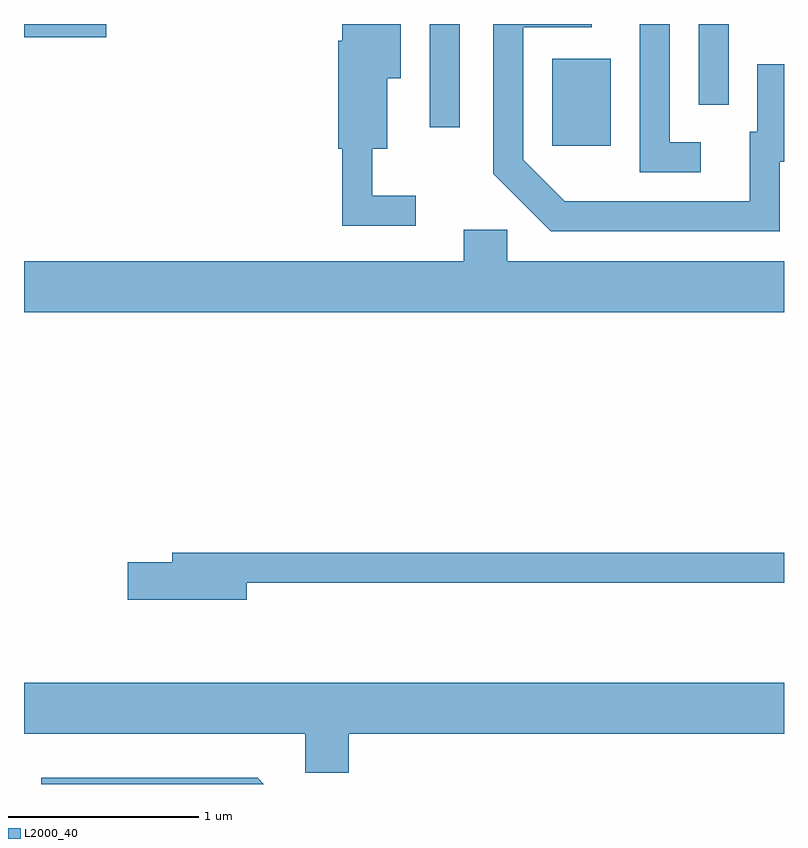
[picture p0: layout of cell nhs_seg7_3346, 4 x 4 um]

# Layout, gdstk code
import gdstk
lib = gdstk.Library(unit=1e-6, precision=1e-09)
def R(c, l, rs):  # rectangles x0, y0, x1, y1
    for r in rs: c.add(gdstk.rectangle(r[:2], r[2:], *l))
def P(c, l, *ps):  # polygons
    for p in ps: c.add(gdstk.Polygon(p, *l))
L2000_40 = (2000, 40)

nhs_seg7_3346 = lib.new_cell('nhs_seg7_3346')
R(nhs_seg7_3346, L2000_40, [(290.391,1739.611,290.699,1740.069), (289.746,1739.708,289.904,1740.252), (291.161,1739.828,291.319,1740.252), (287.611,1740.181,288.044,1740.252)])
P(nhs_seg7_3346, L2000_40, [(289.673,1739.349),(289.444,1739.349),(289.444,1739.596),(289.524,1739.596),(289.524,1739.966),(289.594,1739.966),(289.594,1740.252),(289.286,1740.252),(289.286,1740.164),(289.266,1740.164),(289.266,1739.596),(289.286,1739.596),(289.286,1739.191),(289.673,1739.191)],
  [(291.173,1739.629),(291.009,1739.629),(291.009,1740.252),(290.851,1740.252),(290.851,1739.471),(291.173,1739.471)],
  [(291.589,1739.526),(291.611,1739.526),(291.611,1740.039),(291.471,1740.039),(291.471,1739.684),(291.431,1739.684),(291.431,1739.319),(290.457,1739.319),(290.239,1739.537),(290.239,1740.236),(290.598,1740.236),(290.598,1740.252),(290.081,1740.252),(290.081,1739.464),(290.384,1739.161),(291.589,1739.161)],
  [(291.611,1739.004),(290.154,1739.004),(290.154,1739.169),(289.926,1739.169),(289.926,1739.004),(287.611,1739.004),(287.611,1738.736),(291.611,1738.736)],
  [(288.784,1737.311),(291.611,1737.311),(291.611,1737.469),(288.391,1737.469),(288.391,1737.419),(288.156,1737.419),(288.156,1737.221),(288.784,1737.221)],
  [(289.319,1736.516),(291.611,1736.516),(291.611,1736.784),(287.611,1736.784),(287.611,1736.516),(289.091,1736.516),(289.091,1736.311),(289.319,1736.311)],
  [(288.842,1736.284),(287.703,1736.284),(287.703,1736.252),(288.874,1736.252)])

lib.write_gds('nhs_seg7_3346.gds')
